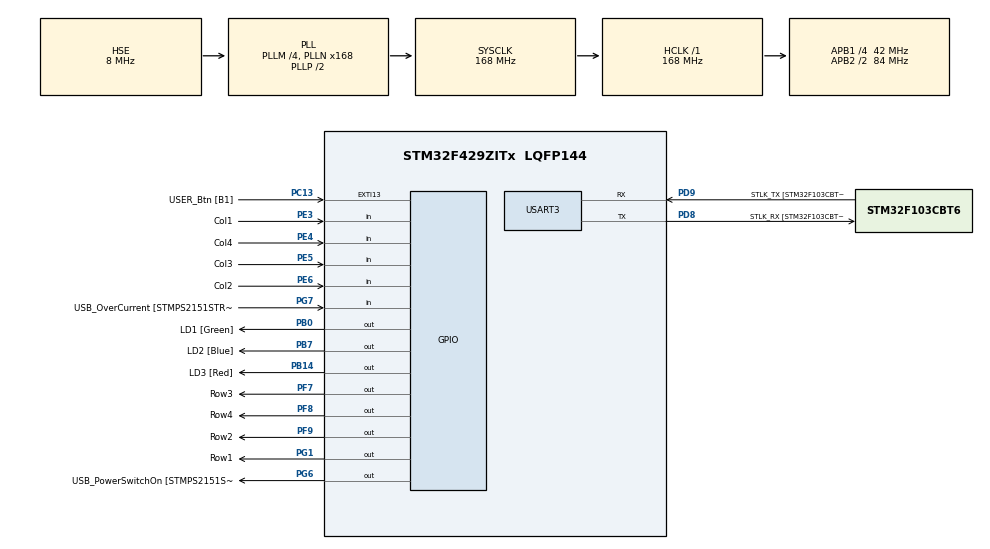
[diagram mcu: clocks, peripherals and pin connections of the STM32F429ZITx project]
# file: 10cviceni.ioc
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Mcu.Family=STM32F4
Mcu.Name=STM32F429ZITx
Mcu.Package=LQFP144
NVIC.PriorityGroup=NVIC_PRIORITYGROUP_4
NVIC.TIM3_IRQn=true\:0\:0\:false\:false\:true\:true\:true\:true
PA1.GPIO_Label=RMII_REF_CLK [LAN8742A-CZ-TR_REFCLK0]
PA1.Signal=ETH_REF_CLK
PA10.GPIO_Label=USB_ID
PA10.Signal=USB_OTG_FS_ID
PA11.GPIO_Label=USB_DM
PA11.Signal=USB_OTG_FS_DM
PA12.GPIO_Label=USB_DP
PA12.Signal=USB_OTG_FS_DP
PA13.GPIO_Label=TMS
PA13.Mode=Serial_Wire
PA13.Signal=SYS_JTMS-SWDIO
PA14.GPIO_Label=TCK
PA14.Mode=Serial_Wire
PA14.Signal=SYS_JTCK-SWCLK
PA2.GPIO_Label=RMII_MDIO [LAN8742A-CZ-TR_MDIO]
PA2.Signal=ETH_MDIO
PA7.GPIO_Label=RMII_CRS_DV [LAN8742A-CZ-TR_CRS_DV]
PA7.Signal=ETH_CRS_DV
PA8.GPIO_Label=USB_SOF [TP1]
PA8.Signal=USB_OTG_FS_SOF
PA9.GPIO_Label=USB_VBUS
PA9.Signal=USB_OTG_FS_VBUS
PB0.GPIO_Label=LD1 [Green]
PB0.Signal=GPIO_Output
PB13.GPIO_Label=RMII_TXD1 [LAN8742A-CZ-TR_TXD1]
PB13.Signal=ETH_TXD1
PB14.GPIO_Label=LD3 [Red]
PB14.Signal=GPIO_Output
PB7.GPIO_Label=LD2 [Blue]
PB7.Signal=GPIO_Output
PC1.GPIO_Label=RMII_MDC [LAN8742A-CZ-TR_MDC]
PC1.Signal=ETH_MDC
PC13.GPIO_Label=USER_Btn [B1]
PC13.Signal=GPXTI13
PC14/OSC32_IN.Mode=LSE-External-Oscillator
PC14/OSC32_IN.Signal=RCC_OSC32_IN
PC15/OSC32_OUT.Mode=LSE-External-Oscillator
PC15/OSC32_OUT.Signal=RCC_OSC32_OUT
PC4.GPIO_Label=RMII_RXD0 [LAN8742A-CZ-TR_RXD0]
PC4.Signal=ETH_RXD0
PC5.GPIO_Label=RMII_RXD1 [LAN8742A-CZ-TR_RXD1]
PC5.Signal=ETH_RXD1
PD8.GPIO_Label=STLK_RX [STM32F103CBT6_PA3]
PD8.Mode=Asynchronous
PD8.Signal=USART3_TX
PD9.GPIO_Label=STLK_TX [STM32F103CBT6_PA2]
PD9.Mode=Asynchronous
PD9.Signal=USART3_RX
PE3.GPIO_Label=Col1
PE3.GPIO_PuPd=GPIO_PULLUP
PE3.Signal=GPIO_Input
PE4.GPIO_Label=Col4
PE4.GPIO_PuPd=GPIO_PULLUP
PE4.Signal=GPIO_Input
PE5.GPIO_Label=Col3
PE5.GPIO_PuPd=GPIO_PULLUP
PE5.Signal=GPIO_Input
PE6.GPIO_Label=Col2
PE6.GPIO_PuPd=GPIO_PULLUP
PE6.Signal=GPIO_Input
PF7.GPIO_Label=Row3
PF7.GPIO_ModeDefaultOutputPP=GPIO_MODE_OUTPUT_OD
PF7.GPIO_PuPd=GPIO_NOPULL
PF7.Signal=GPIO_Output
PF8.GPIO_Label=Row4
PF8.GPIO_ModeDefaultOutputPP=GPIO_MODE_OUTPUT_OD
PF8.GPIO_PuPd=GPIO_NOPULL
PF8.Signal=GPIO_Output
PF9.GPIO_Label=Row2
PF9.GPIO_ModeDefaultOutputPP=GPIO_MODE_OUTPUT_OD
PF9.GPIO_PuPd=GPIO_NOPULL
PF9.Signal=GPIO_Output
PG1.GPIO_Label=Row1
PG1.GPIO_ModeDefaultOutputPP=GPIO_MODE_OUTPUT_OD
PG1.GPIO_PuPd=GPIO_NOPULL
PG1.Signal=GPIO_Output
PG11.GPIO_Label=RMII_TX_EN [LAN8742A-CZ-TR_TXEN]
PG11.Signal=ETH_TX_EN
PG13.GPIO_Label=RMII_TXD0 [LAN8742A-CZ-TR_TXD0]
PG13.Signal=ETH_TXD0
PG6.GPIO_Label=USB_PowerSwitchOn [STMPS2151STR_EN]
PG6.Signal=GPIO_Output
PG7.GPIO_Label=USB_OverCurrent [STMPS2151STR_FAULT]
PG7.Signal=GPIO_Input
PH0/OSC_IN.GPIO_Label=MCO [STM32F103CBT6_PA8]
PH0/OSC_IN.Mode=HSE-External-Clock-Source
PH0/OSC_IN.Signal=RCC_OSC_IN
PH1/OSC_OUT.Mode=HSE-External-Clock-Source
PH1/OSC_OUT.Signal=RCC_OSC_OUT
ProjectManager.HeapSize=0x200
ProjectManager.StackSize=0x400
ProjectManager.TargetToolchain=STM32CubeIDE
RCC.48MHZClocksFreq_Value=48000000
RCC.AHBFreq_Value=168000000
RCC.APB1CLKDivider=RCC_HCLK_DIV4
RCC.APB1Freq_Value=42000000
RCC.APB1TimFreq_Value=84000000
RCC.APB2CLKDivider=RCC_HCLK_DIV2
RCC.APB2Freq_Value=84000000
RCC.APB2TimCLKDivider=2
RCC.APB2TimFreq_Value=168000000
RCC.CortexFreq_Value=168000000
RCC.HCLKFreq_Value=168000000
RCC.HSE_VALUE=8000000
RCC.HSI_VALUE=16000000
RCC.PLLM=4
RCC.PLLMUL=RCC_PLL_MUL9
RCC.PLLN=168
RCC.PLLQ=7
RCC.PLLSourceVirtual=RCC_PLLSOURCE_HSE
RCC.PRESCALERUSB=RCC_USBCLKSOURCE_PLL_DIV1_5
RCC.SYSCLKFreq_VALUE=168000000
RCC.SYSCLKSource=RCC_SYSCLKSOURCE_PLLCLK
RCC.SYSCLKSourceVirtual=RCC_SYSCLKSOURCE_PLLCLK
RCC.USBFreq_Value=48000000
RCC.VCOOutputFreq_Value=336000000
TIM3.AutoReloadPreload=TIM_AUTORELOAD_PRELOAD_ENABLE
TIM3.Period=99
TIM3.Prescaler=8399
USART3.VirtualMode=VM_ASYNC
VP_TIM3_VS_ClockSourceINT.Mode=Internal
board=NUCLEO-F429ZI

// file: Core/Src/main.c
/* USER CODE BEGIN Header */
/**
  ******************************************************************************
  * @file           : main.c
  * @brief          : Main program body
  ******************************************************************************
  * @attention
  *
  * Copyright (c) 2022 STMicroelectronics.
  * All rights reserved.
  *
  * This software is licensed under terms that can be found in the LICENSE file
  * in the root directory of this software component.
  * If no LICENSE file comes with this software, it is provided AS-IS.
  *
  ******************************************************************************
  */
/* USER CODE END Header */
#include "main.h"

/* USER CODE BEGIN Includes */
#include <stdio.h>
#include <string.h>
/* USER CODE END Includes */

/* USER CODE BEGIN PD */
#define TIMEOUT_DELAY 5000 // ms = 5 s
/* USER CODE END PD */

TIM_HandleTypeDef htim3;

UART_HandleTypeDef huart3;

/* USER CODE BEGIN PV */
static volatile int8_t key = -1;
/* USER CODE END PV */

void SystemClock_Config(void);
static void MX_GPIO_Init(void);
static void MX_USART3_UART_Init(void);
static void MX_TIM3_Init(void);

/* USER CODE BEGIN 0 */
int __io_putchar(int ch) // function for overwriting weak function _write
{
ITM_SendChar(ch);
return 0;
}

/* USER CODE END 0 */

int main(void)
{

  /* MCU Configuration--------------------------------------------------------*/

  /* Reset of all peripherals, Initializes the Flash interface and the Systick. */
  HAL_Init();

  /* Configure the system clock */
  SystemClock_Config();

  /* Initialize all configured peripherals */
  MX_GPIO_Init();
  MX_USART3_UART_Init();
  MX_TIM3_Init();
  /* USER CODE BEGIN 2 */
  HAL_TIM_Base_Start_IT(&htim3); // initialization of TIMER 3
  const char correct_password[5] = {1,2,3,4,12}; // defining access password
  /* USER CODE END 2 */

  /* Infinite loop */
  while (1)
  {

    /* USER CODE BEGIN 3 */
	  static char password[5]; // input password
	  static uint8_t counter = 0;
	  static uint32_t timeout = 0;
	  static uint8_t flag = 0;
	  if (key != -1) { // this if is activated if user pushes any button
		  printf("Input: %2d\n", key); // printing to debugger pushed button
		  password[counter] = key; // storing pushed button into the field
		  counter++;
		  HAL_Delay(250); // important delay
		  key = -1; // reset key condition
	  }
	  if ((counter >= 5) && !(strncmp(password, correct_password, 5))) { // if user pushed 5 buttons (or more)
		  // and if entered password is the same as correct_password, then is access granted and LED blinked
		  printf("Access granted!\n");
		  counter = 0;
		  flag = 0;
		  HAL_GPIO_TogglePin(LD1_GPIO_Port, LD1_Pin);
		  HAL_Delay(50);
		  HAL_GPIO_TogglePin(LD1_GPIO_Port, LD1_Pin);
		  HAL_Delay(50);
		  HAL_GPIO_TogglePin(LD1_GPIO_Port, LD1_Pin);
		  HAL_Delay(50);
		  HAL_GPIO_TogglePin(LD1_GPIO_Port, LD1_Pin);
		  HAL_Delay(50);
		  HAL_GPIO_TogglePin(LD1_GPIO_Port, LD1_Pin);
		  HAL_Delay(50);
		  HAL_GPIO_TogglePin(LD1_GPIO_Port, LD1_Pin);
		  HAL_Delay(50);
		  HAL_GPIO_TogglePin(LD1_GPIO_Port, LD1_Pin);
		  HAL_Delay(50);
		  HAL_GPIO_TogglePin(LD1_GPIO_Port, LD1_Pin);
		  HAL_Delay(50);
		  HAL_GPIO_TogglePin(LD1_GPIO_Port, LD1_Pin);
		  HAL_Delay(50);
		  HAL_GPIO_TogglePin(LD1_GPIO_Port, LD1_Pin);
		  HAL_Delay(50);
		  HAL_GPIO_TogglePin(LD1_GPIO_Port, LD1_Pin);
		  HAL_Delay(50);
		  HAL_GPIO_TogglePin(LD1_GPIO_Port, LD1_Pin);
	  }
	  else if (counter >= 5) { // if user pushed 5 buttons (or more) but entered password does not match the
		  // correct one and just turn on LED for short time
		  printf("Access denied!\n");
		  HAL_GPIO_TogglePin(LD1_GPIO_Port, LD1_Pin);
		  HAL_Delay(500);
		  HAL_GPIO_TogglePin(LD1_GPIO_Port, LD1_Pin);
		  counter = 0;
		  flag = 0;
	  }
	  if ((counter >=1) && (flag == 0)) { // timeout is needed if user pushes at least one button
		  timeout = HAL_GetTick();
		  flag = 1;
	  }
	  if (flag == 1) { // timeout is needed signalizes flag
		  if (HAL_GetTick() >= timeout + TIMEOUT_DELAY) { // non-blocking waiting for timeout
			  counter = 0;
			  flag = 0;
			  for(uint8_t i = 0; i<5; i++) {
				  password[i] = 0;
			  }
			  printf("System timeout!\n");
		  }
	  }
  }
  /* USER CODE END 3 */
}

void SystemClock_Config(void)
{
  RCC_OscInitTypeDef RCC_OscInitStruct = {0};
  RCC_ClkInitTypeDef RCC_ClkInitStruct = {0};

  /** Configure the main internal regulator output voltage
  */
  __HAL_RCC_PWR_CLK_ENABLE();
  __HAL_PWR_VOLTAGESCALING_CONFIG(PWR_REGULATOR_VOLTAGE_SCALE1);

  /** Initializes the RCC Oscillators according to the specified parameters
  * in the RCC_OscInitTypeDef structure.
  */
  RCC_OscInitStruct.OscillatorType = RCC_OSCILLATORTYPE_HSE;
  RCC_OscInitStruct.HSEState = RCC_HSE_BYPASS;
  RCC_OscInitStruct.PLL.PLLState = RCC_PLL_ON;
  RCC_OscInitStruct.PLL.PLLSource = RCC_PLLSOURCE_HSE;
  RCC_OscInitStruct.PLL.PLLM = 4;
  RCC_OscInitStruct.PLL.PLLN = 168;
  RCC_OscInitStruct.PLL.PLLP = RCC_PLLP_DIV2;
  RCC_OscInitStruct.PLL.PLLQ = 7;
  if (HAL_RCC_OscConfig(&RCC_OscInitStruct) != HAL_OK)
  {
    Error_Handler();
  }

  /** Initializes the CPU, AHB and APB buses clocks
  */
  RCC_ClkInitStruct.ClockType = RCC_CLOCKTYPE_HCLK|RCC_CLOCKTYPE_SYSCLK
                              |RCC_CLOCKTYPE_PCLK1|RCC_CLOCKTYPE_PCLK2;
  RCC_ClkInitStruct.SYSCLKSource = RCC_SYSCLKSOURCE_PLLCLK;
  RCC_ClkInitStruct.AHBCLKDivider = RCC_SYSCLK_DIV1;
  RCC_ClkInitStruct.APB1CLKDivider = RCC_HCLK_DIV4;
  RCC_ClkInitStruct.APB2CLKDivider = RCC_HCLK_DIV2;

  if (HAL_RCC_ClockConfig(&RCC_ClkInitStruct, FLASH_LATENCY_5) != HAL_OK)
  {
    Error_Handler();
  }
}

static void MX_TIM3_Init(void)
{

  TIM_ClockConfigTypeDef sClockSourceConfig = {0};
  TIM_MasterConfigTypeDef sMasterConfig = {0};

  htim3.Instance = TIM3;
  htim3.Init.Prescaler = 8399;
  htim3.Init.CounterMode = TIM_COUNTERMODE_UP;
  htim3.Init.Period = 99;
  htim3.Init.ClockDivision = TIM_CLOCKDIVISION_DIV1;
  htim3.Init.AutoReloadPreload = TIM_AUTORELOAD_PRELOAD_ENABLE;
  if (HAL_TIM_Base_Init(&htim3) != HAL_OK)
  {
    Error_Handler();
  }
  sClockSourceConfig.ClockSource = TIM_CLOCKSOURCE_INTERNAL;
  if (HAL_TIM_ConfigClockSource(&htim3, &sClockSourceConfig) != HAL_OK)
  {
    Error_Handler();
  }
  sMasterConfig.MasterOutputTrigger = TIM_TRGO_RESET;
  sMasterConfig.MasterSlaveMode = TIM_MASTERSLAVEMODE_DISABLE;
  if (HAL_TIMEx_MasterConfigSynchronization(&htim3, &sMasterConfig) != HAL_OK)
  {
    Error_Handler();
  }

}

static void MX_USART3_UART_Init(void)
{

  huart3.Instance = USART3;
  huart3.Init.BaudRate = 115200;
  huart3.Init.WordLength = UART_WORDLENGTH_8B;
  huart3.Init.StopBits = UART_STOPBITS_1;
  huart3.Init.Parity = UART_PARITY_NONE;
  huart3.Init.Mode = UART_MODE_TX_RX;
  huart3.Init.HwFlowCtl = UART_HWCONTROL_NONE;
  huart3.Init.OverSampling = UART_OVERSAMPLING_16;
  if (HAL_UART_Init(&huart3) != HAL_OK)
  {
    Error_Handler();
  }

}

static void MX_GPIO_Init(void)
{
  GPIO_InitTypeDef GPIO_InitStruct = {0};

  /* GPIO Ports Clock Enable */
  __HAL_RCC_GPIOE_CLK_ENABLE();
  __HAL_RCC_GPIOC_CLK_ENABLE();
  __HAL_RCC_GPIOF_CLK_ENABLE();
  __HAL_RCC_GPIOH_CLK_ENABLE();
  __HAL_RCC_GPIOA_CLK_ENABLE();
  __HAL_RCC_GPIOB_CLK_ENABLE();
  __HAL_RCC_GPIOG_CLK_ENABLE();
  __HAL_RCC_GPIOD_CLK_ENABLE();

  /*Configure GPIO pin Output Level */
  HAL_GPIO_WritePin(GPIOF, Row3_Pin|Row4_Pin|Row2_Pin, GPIO_PIN_RESET);

  /*Configure GPIO pin Output Level */
  HAL_GPIO_WritePin(GPIOB, LD1_Pin|LD3_Pin|LD2_Pin, GPIO_PIN_RESET);

  /*Configure GPIO pin Output Level */
  HAL_GPIO_WritePin(GPIOG, Row1_Pin|USB_PowerSwitchOn_Pin, GPIO_PIN_RESET);

  /*Configure GPIO pins : Col1_Pin Col4_Pin Col3_Pin Col2_Pin */
  GPIO_InitStruct.Pin = Col1_Pin|Col4_Pin|Col3_Pin|Col2_Pin;
  GPIO_InitStruct.Mode = GPIO_MODE_INPUT;
  GPIO_InitStruct.Pull = GPIO_PULLUP;
  HAL_GPIO_Init(GPIOE, &GPIO_InitStruct);

  /*Configure GPIO pin : USER_Btn_Pin */
  GPIO_InitStruct.Pin = USER_Btn_Pin;
  GPIO_InitStruct.Mode = GPIO_MODE_IT_RISING;
  GPIO_InitStruct.Pull = GPIO_NOPULL;
  HAL_GPIO_Init(USER_Btn_GPIO_Port, &GPIO_InitStruct);

  /*Configure GPIO pins : Row3_Pin Row4_Pin Row2_Pin */
  GPIO_InitStruct.Pin = Row3_Pin|Row4_Pin|Row2_Pin;
  GPIO_InitStruct.Mode = GPIO_MODE_OUTPUT_OD;
  GPIO_InitStruct.Pull = GPIO_NOPULL;
  GPIO_InitStruct.Speed = GPIO_SPEED_FREQ_LOW;
  HAL_GPIO_Init(GPIOF, &GPIO_InitStruct);

  /*Configure GPIO pins : RMII_MDC_Pin RMII_RXD0_Pin RMII_RXD1_Pin */
  GPIO_InitStruct.Pin = RMII_MDC_Pin|RMII_RXD0_Pin|RMII_RXD1_Pin;
  GPIO_InitStruct.Mode = GPIO_MODE_AF_PP;
  GPIO_InitStruct.Pull = GPIO_NOPULL;
  GPIO_InitStruct.Speed = GPIO_SPEED_FREQ_VERY_HIGH;
  GPIO_InitStruct.Alternate = GPIO_AF11_ETH;
  HAL_GPIO_Init(GPIOC, &GPIO_InitStruct);

  /*Configure GPIO pins : RMII_REF_CLK_Pin RMII_MDIO_Pin RMII_CRS_DV_Pin */
  GPIO_InitStruct.Pin = RMII_REF_CLK_Pin|RMII_MDIO_Pin|RMII_CRS_DV_Pin;
  GPIO_InitStruct.Mode = GPIO_MODE_AF_PP;
  GPIO_InitStruct.Pull = GPIO_NOPULL;
  GPIO_InitStruct.Speed = GPIO_SPEED_FREQ_VERY_HIGH;
  GPIO_InitStruct.Alternate = GPIO_AF11_ETH;
  HAL_GPIO_Init(GPIOA, &GPIO_InitStruct);

  /*Configure GPIO pins : LD1_Pin LD3_Pin LD2_Pin */
  GPIO_InitStruct.Pin = LD1_Pin|LD3_Pin|LD2_Pin;
  GPIO_InitStruct.Mode = GPIO_MODE_OUTPUT_PP;
  GPIO_InitStruct.Pull = GPIO_NOPULL;
  GPIO_InitStruct.Speed = GPIO_SPEED_FREQ_LOW;
  HAL_GPIO_Init(GPIOB, &GPIO_InitStruct);

  /*Configure GPIO pin : Row1_Pin */
  GPIO_InitStruct.Pin = Row1_Pin;
  GPIO_InitStruct.Mode = GPIO_MODE_OUTPUT_OD;
  GPIO_InitStruct.Pull = GPIO_NOPULL;
  GPIO_InitStruct.Speed = GPIO_SPEED_FREQ_LOW;
  HAL_GPIO_Init(Row1_GPIO_Port, &GPIO_InitStruct);

  /*Configure GPIO pin : RMII_TXD1_Pin */
  GPIO_InitStruct.Pin = RMII_TXD1_Pin;
  GPIO_InitStruct.Mode = GPIO_MODE_AF_PP;
  GPIO_InitStruct.Pull = GPIO_NOPULL;
  GPIO_InitStruct.Speed = GPIO_SPEED_FREQ_VERY_HIGH;
  GPIO_InitStruct.Alternate = GPIO_AF11_ETH;
  HAL_GPIO_Init(RMII_TXD1_GPIO_Port, &GPIO_InitStruct);

  /*Configure GPIO pin : USB_PowerSwitchOn_Pin */
  GPIO_InitStruct.Pin = USB_PowerSwitchOn_Pin;
  GPIO_InitStruct.Mode = GPIO_MODE_OUTPUT_PP;
  GPIO_InitStruct.Pull = GPIO_NOPULL;
  GPIO_InitStruct.Speed = GPIO_SPEED_FREQ_LOW;
  HAL_GPIO_Init(USB_PowerSwitchOn_GPIO_Port, &GPIO_InitStruct);

  /*Configure GPIO pin : USB_OverCurrent_Pin */
  GPIO_InitStruct.Pin = USB_OverCurrent_Pin;
  GPIO_InitStruct.Mode = GPIO_MODE_INPUT;
  GPIO_InitStruct.Pull = GPIO_NOPULL;
  HAL_GPIO_Init(USB_OverCurrent_GPIO_Port, &GPIO_InitStruct);

  /*Configure GPIO pins : USB_SOF_Pin USB_ID_Pin USB_DM_Pin USB_DP_Pin */
  GPIO_InitStruct.Pin = USB_SOF_Pin|USB_ID_Pin|USB_DM_Pin|USB_DP_Pin;
  GPIO_InitStruct.Mode = GPIO_MODE_AF_PP;
  GPIO_InitStruct.Pull = GPIO_NOPULL;
  GPIO_InitStruct.Speed = GPIO_SPEED_FREQ_VERY_HIGH;
  GPIO_InitStruct.Alternate = GPIO_AF10_OTG_FS;
  HAL_GPIO_Init(GPIOA, &GPIO_InitStruct);

  /*Configure GPIO pin : USB_VBUS_Pin */
  GPIO_InitStruct.Pin = USB_VBUS_Pin;
  GPIO_InitStruct.Mode = GPIO_MODE_INPUT;
  GPIO_InitStruct.Pull = GPIO_NOPULL;
  HAL_GPIO_Init(USB_VBUS_GPIO_Port, &GPIO_InitStruct);

  /*Configure GPIO pins : RMII_TX_EN_Pin RMII_TXD0_Pin */
  GPIO_InitStruct.Pin = RMII_TX_EN_Pin|RMII_TXD0_Pin;
  GPIO_InitStruct.Mode = GPIO_MODE_AF_PP;
  GPIO_InitStruct.Pull = GPIO_NOPULL;
  GPIO_InitStruct.Speed = GPIO_SPEED_FREQ_VERY_HIGH;
  GPIO_InitStruct.Alternate = GPIO_AF11_ETH;
  HAL_GPIO_Init(GPIOG, &GPIO_InitStruct);

}

/* USER CODE BEGIN 4 */
void HAL_TIM_PeriodElapsedCallback(TIM_HandleTypeDef *htim) {
	static int row = 0;
	static const int keyboard[4][4] = {
			{ 1, 2, 3, 21 },
			{ 4, 5, 6, 22 },
			{ 7, 8, 9, 23 },
			{ 11, 0, 12, 24 },
	};
	if (key == -1) {
		if (HAL_GPIO_ReadPin(Col1_GPIO_Port, Col1_Pin) == GPIO_PIN_RESET) key = keyboard[row][0];
		if (HAL_GPIO_ReadPin(Col2_GPIO_Port, Col2_Pin) == GPIO_PIN_RESET) key = keyboard[row][1];
		if (HAL_GPIO_ReadPin(Col3_GPIO_Port, Col3_Pin) == GPIO_PIN_RESET) key = keyboard[row][2];
		if (HAL_GPIO_ReadPin(Col4_GPIO_Port, Col4_Pin) == GPIO_PIN_RESET) key = keyboard[row][3];
	}
	HAL_GPIO_WritePin(Row1_GPIO_Port, Row1_Pin, GPIO_PIN_SET);
	HAL_GPIO_WritePin(Row2_GPIO_Port, Row2_Pin, GPIO_PIN_SET);
	HAL_GPIO_WritePin(Row3_GPIO_Port, Row3_Pin, GPIO_PIN_SET);
	HAL_GPIO_WritePin(Row4_GPIO_Port, Row4_Pin, GPIO_PIN_SET);
	switch (row) {
	case 0: row = 1; HAL_GPIO_WritePin(Row2_GPIO_Port, Row2_Pin, GPIO_PIN_RESET); break;
	case 1: row = 2; HAL_GPIO_WritePin(Row3_GPIO_Port, Row3_Pin, GPIO_PIN_RESET); break;
	case 2: row = 3; HAL_GPIO_WritePin(Row4_GPIO_Port, Row4_Pin, GPIO_PIN_RESET); break;
	case 3: row = 0; HAL_GPIO_WritePin(Row1_GPIO_Port, Row1_Pin, GPIO_PIN_RESET); break;
	}
}

/* USER CODE END 4 */

void Error_Handler(void)
{
  __disable_irq();
  while (1)
  {
  }
}
